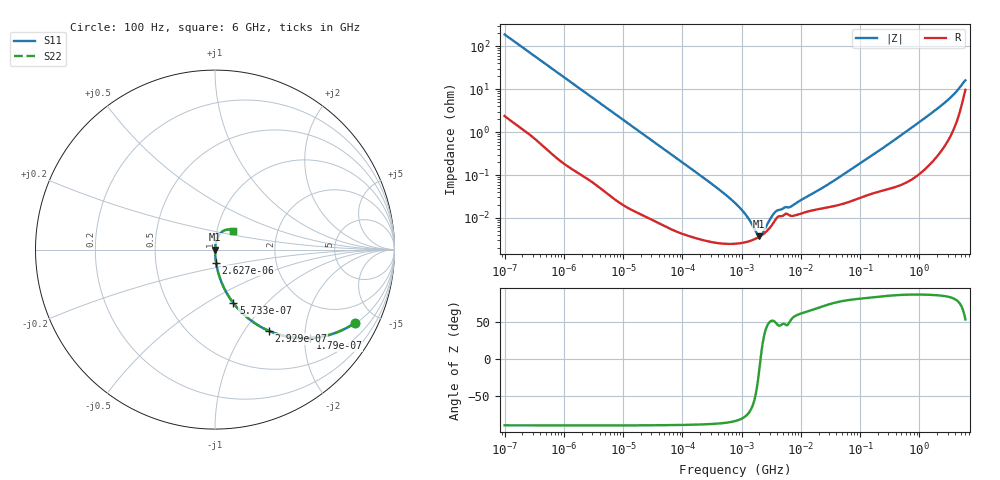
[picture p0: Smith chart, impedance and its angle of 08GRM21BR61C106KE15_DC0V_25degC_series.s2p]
!Murata Part Number: GRM21BR61C106KE15
!These Parameters are Measured in Series Mode Connection
!  o--ll--o
!Port1  Port2
!  o------o
!Operation Temp=25[degC], DC Bias Voltage=0[V]
!Freq. Start=100[Hz] Stop=6[GHz], 401[Steps]
!Data Generated on Mar 14, 2018
# Hz S RI R 50
!Freq.(Hz) S11(Real) S11(Imag) S21(Real) S21(Imag) S12(Real) S12(Imag) S22(Real) S22(Imag)
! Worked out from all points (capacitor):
!   401 points, 100 Hz to 6 GHz, reference 50 ohm
!   read as one part in series: C = 8.41 uF near 109.4 Hz
!   lowest |Z| = 3.77 mohm at 1.983 MHz (marker M1)
!   series resonance near 2.091 MHz, so ESL is about 690 pH
!   S11 on the Smith chart (normalised r, x): 100 Hz: 1.05, -3.78; 179 Hz: 1.03, -2.12; 292.9 Hz: 1.02, -1.30; 573.3 Hz: 1.01, -0.67; 2.627 kHz: 1.00, -0.15; 6 GHz: 1.19, +0.26
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100  0.7782 -0.4092  0.2218 0.4092  0.2218 0.4092  0.7782 -0.4092
178.974  0.5288 -0.493  0.4712 0.493  0.4712 0.493  0.5288 -0.493
292.8796  0.2996 -0.4521  0.7004 0.4521  0.7004 0.4521  0.2996 -0.4521
573.2839  0.1029 -0.2986  0.8971 0.2986  0.8971 0.2986  0.1029 -0.2986
981.1023  0.0386 -0.1878  0.9614 0.1878  0.9614 0.1878  0.0386 -0.1878
2008.354  0.0101 -0.0949  0.9899 0.0949  0.9899 0.0949  0.0101 -0.0949
2627.318  0.00614 -0.073  0.9939 0.073  0.9939 0.073  0.00614 -0.073
7694.877  0.000892 -0.0252  0.9991 0.0252  0.9991 0.0252  0.000892 -0.0252
40334.87  9.86e-05 -0.00487  0.9999 0.00487  0.9999 0.00487  9.86e-05 -0.00487
330836.5  2.73e-05 -0.000588  1 0.000588  1 0.000588  2.73e-05 -0.000588
774596.7  2.51e-05 -0.000223  1 0.000223  1 0.000223  2.51e-05 -0.000223
1325623  2.85e-05 -9e-05  1 9e-05  1 9e-05  2.85e-05 -9e-05
1983483  3.63e-05 -1.01e-05  1 1.01e-05  1 1.01e-05  3.63e-05 -1.01e-05
2967816  5.78e-05 6.77e-05  0.9999 -6.77e-05  0.9999 -6.77e-05  5.78e-05 6.77e-05
4060267  0.000105 0.000108  0.9999 -0.000108  0.9999 -0.000108  0.000105 0.000108
6948629  0.000112 0.00015  0.9999 -0.00015  0.9999 -0.00015  0.000112 0.00015
1.555665e7  0.00015 0.000334  0.9999 -0.000334  0.9999 -0.000334  0.00015 0.000334
3.983537e7  0.000195 0.00078  0.9998 -0.00078  0.9998 -0.00078  0.000195 0.00078
3.124326e8  0.000506 0.0054  0.9995 -0.0054  0.9995 -0.0054  0.000506 0.0054
2.34314e9  0.00528 0.041  0.9947 -0.041  0.9947 -0.041  0.00528 0.041
4.193612e9  0.0229 0.0822  0.9771 -0.0822  0.9771 -0.0822  0.0229 0.0822
6e9  0.1005 0.1055  0.8995 -0.1055  0.8995 -0.1055  0.1005 0.1055
